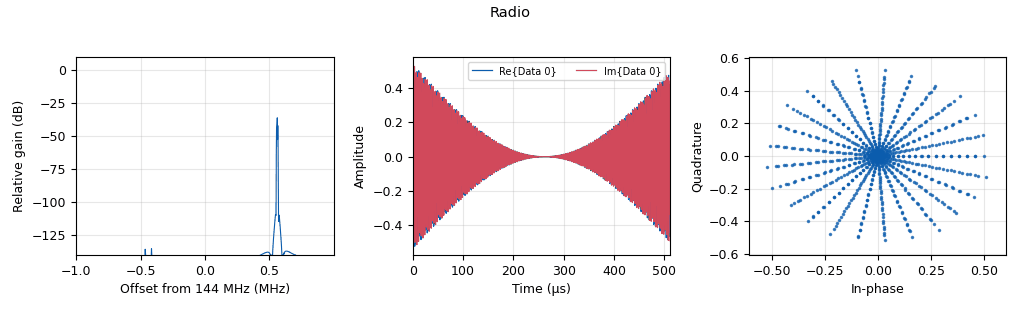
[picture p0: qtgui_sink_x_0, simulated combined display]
options:
  parameters:
    generate_options: qt_gui
    id: foxv3
    output_language: python
    title: Fox v3
  states: {}

blocks:
- name: audio_freq
  id: variable_qtgui_range
  parameters:
    label: audio_freq
    start: '500'
    step: '50'
    stop: '2000'
    value: '1000'
  states: {}
- name: audio_samp_rate
  id: variable
  parameters:
    value: '20000'
  states: {}
- name: cw_speed
  id: variable_qtgui_range
  parameters:
    label: cw_speed
    rangeType: int
    start: '100000'
    step: '10000'
    stop: '500000'
    value: '250000'
  states: {}
- name: freq
  id: variable_qtgui_range
  parameters:
    label: freq
    start: '0'
    step: 5e3
    stop: 1e6
    value: 560e3
  states: {}
- name: power
  id: variable_qtgui_check_box
  parameters:
    'false': '0'
    label: Power
    'true': '1'
    type: real
    value: '1'
  states: {}
- name: samp_rate
  id: variable
  parameters:
    value: 2e6
  states: {}
- name: analog_const_source_x_0
  id: analog_const_source_x
  parameters:
    const: '0'
    type: float
  states: {}
- name: analog_const_source_x_1
  id: analog_const_source_x
  parameters:
    const: complex(1, 0)
    type: complex
  states: {}
- name: analog_const_source_x_2
  id: analog_const_source_x
  parameters:
    const: complex(power,0)
    type: complex
  states: {}
- name: analog_sig_source_x_0
  id: analog_sig_source_x
  parameters:
    amp: '0.5'
    freq: audio_freq
    offset: '0.5'
    phase: '0'
    samp_rate: samp_rate
    type: float
    waveform: analog.GR_SIN_WAVE
  states: {}
- name: analog_sig_source_x_0_0
  id: analog_sig_source_x
  parameters:
    amp: '1'
    freq: freq
    offset: '0'
    phase: '0'
    samp_rate: samp_rate
    type: complex
    waveform: analog.GR_COS_WAVE
  states: {}
- name: blocks_add_xx_0
  id: blocks_add_xx
  parameters:
    type: complex
  states: {}
- name: blocks_float_to_complex_0
  id: blocks_float_to_complex
  parameters: {}
  states: {}
- name: blocks_multiply_xx_0_0
  id: blocks_multiply_xx
  parameters:
    type: complex
  states: {}
- name: blocks_multiply_xx_0_0_0
  id: blocks_multiply_xx
  parameters:
    num_inputs: '3'
    type: complex
  states: {}
- name: blocks_repeat_0
  id: blocks_repeat
  parameters:
    interp: cw_speed
    type: complex
  states: {}
- name: blocks_sub_xx_0
  id: blocks_sub_xx
  parameters:
    type: complex
  states: {}
- name: blocks_vector_source_x_0
  id: blocks_vector_source_x
  parameters:
    repeat: 'True'
    type: complex
    vector: (1, 1, 1, 0, 1, 1, 1, 0, 0, 0, 1, 1 ,1 ,0, 1, 1, 1, 0, 1, 1, 1, 0, 0, 0, 1, 0, 0, 0, 0, 0, 0)
  states: {}
- name: qtgui_sink_x_0
  id: qtgui_sink_x
  parameters:
    bw: samp_rate
    fc: 144e6
    fftsize: '1024'
    name: Radio
    showrf: 'True'
    type: complex
  states: {}
- name: soapy_hackrf_sink_0
  id: soapy_hackrf_sink
  parameters:
    center_freq: 144e6
    samp_rate: samp_rate
    type: fc32
  states: {}
- name: virtual_sink_0
  id: virtual_sink
  parameters:
    stream_id: cw_key
  states: {}
- name: virtual_sink_0_0
  id: virtual_sink
  parameters:
    stream_id: negative_cw_key
  states: {}
- name: virtual_sink_0_0_0
  id: virtual_sink
  parameters:
    stream_id: audio
  states: {}
- name: virtual_source_0
  id: virtual_source
  parameters:
    stream_id: cw_key
  states: {}
- name: virtual_source_1
  id: virtual_source
  parameters:
    stream_id: negative_cw_key
  states: {}
- name: virtual_source_2
  id: virtual_source
  parameters:
    stream_id: audio
  states: {}

connections:
- [analog_const_source_x_0, '0', blocks_float_to_complex_0, '1']
- [analog_const_source_x_1, '0', blocks_sub_xx_0, '0']
- [analog_const_source_x_2, '0', blocks_multiply_xx_0_0_0, '2']
- [analog_sig_source_x_0, '0', blocks_float_to_complex_0, '0']
- [analog_sig_source_x_0_0, '0', blocks_multiply_xx_0_0_0, '1']
- [blocks_add_xx_0, '0', blocks_multiply_xx_0_0_0, '0']
- [blocks_float_to_complex_0, '0', blocks_multiply_xx_0_0, '0']
- [blocks_multiply_xx_0_0, '0', virtual_sink_0_0_0, '0']
- [blocks_multiply_xx_0_0_0, '0', qtgui_sink_x_0, '0']
- [blocks_multiply_xx_0_0_0, '0', soapy_hackrf_sink_0, '0']
- [blocks_repeat_0, '0', blocks_sub_xx_0, '1']
- [blocks_repeat_0, '0', virtual_sink_0, '0']
- [blocks_sub_xx_0, '0', virtual_sink_0_0, '0']
- [blocks_vector_source_x_0, '0', blocks_repeat_0, '0']
- [virtual_source_0, '0', blocks_multiply_xx_0_0, '1']
- [virtual_source_1, '0', blocks_add_xx_0, '1']
- [virtual_source_2, '0', blocks_add_xx_0, '0']

metadata:
  file_format: 1
  grc_version: 3.10.11.0
